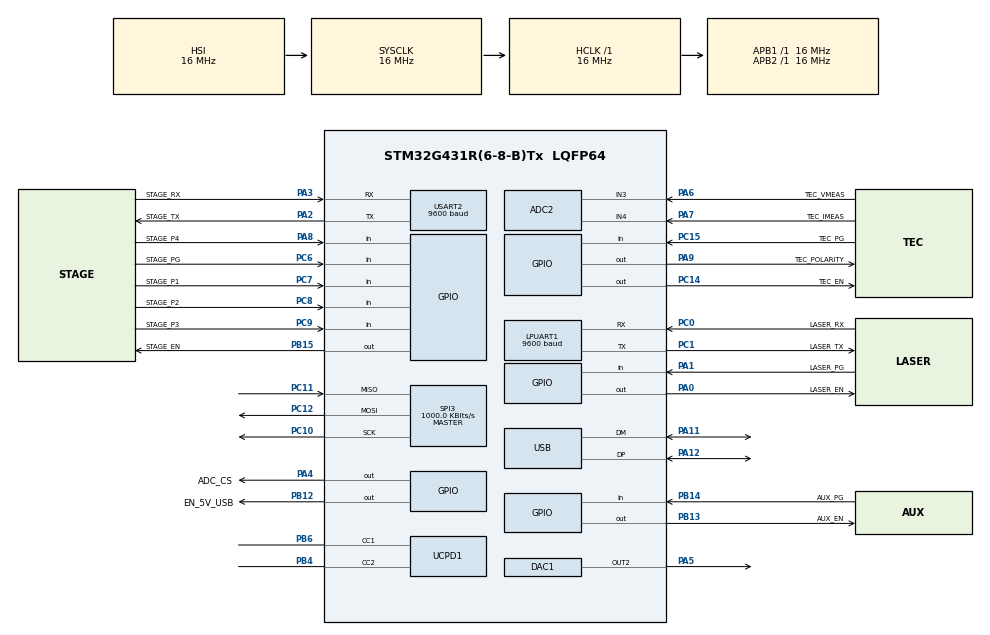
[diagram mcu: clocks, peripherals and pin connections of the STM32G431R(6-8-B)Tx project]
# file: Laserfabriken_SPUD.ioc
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ADC2.Channel-0\#ChannelRegularConversion=ADC_CHANNEL_3
ADC2.NbrOfConversionFlag=1
ADC2.OffsetNumber-0\#ChannelRegularConversion=ADC_OFFSET_NONE
ADC2.Rank-0\#ChannelRegularConversion=1
ADC2.SamplingTime-0\#ChannelRegularConversion=ADC_SAMPLETIME_2CYCLES_5
ADC2.SingleDiff-0\#ChannelRegularConversion=ADC_DIFFERENTIAL_ENDED
DAC1.DAC_Channel-DAC_OUT2=DAC_CHANNEL_2
Dma.ADC2.0.Direction=DMA_PERIPH_TO_MEMORY
Dma.ADC2.0.EventEnable=DISABLE
Dma.ADC2.0.Instance=DMA1_Channel2
Dma.ADC2.0.MemDataAlignment=DMA_MDATAALIGN_HALFWORD
Dma.ADC2.0.MemInc=DMA_MINC_ENABLE
Dma.ADC2.0.Mode=DMA_NORMAL
Dma.ADC2.0.PeriphDataAlignment=DMA_PDATAALIGN_HALFWORD
Dma.ADC2.0.PeriphInc=DMA_PINC_DISABLE
Dma.ADC2.0.Polarity=HAL_DMAMUX_REQ_GEN_RISING
Dma.ADC2.0.Priority=DMA_PRIORITY_LOW
Dma.ADC2.0.RequestNumber=1
Dma.ADC2.0.SignalID=NONE
Dma.ADC2.0.SyncEnable=DISABLE
Dma.ADC2.0.SyncPolarity=HAL_DMAMUX_SYNC_NO_EVENT
Dma.ADC2.0.SyncRequestNumber=1
Dma.ADC2.0.SyncSignalID=NONE
Dma.LPUART1_RX.1.Direction=DMA_PERIPH_TO_MEMORY
Dma.LPUART1_RX.1.EventEnable=DISABLE
Dma.LPUART1_RX.1.Instance=DMA1_Channel3
Dma.LPUART1_RX.1.MemDataAlignment=DMA_MDATAALIGN_BYTE
Dma.LPUART1_RX.1.MemInc=DMA_MINC_ENABLE
Dma.LPUART1_RX.1.Mode=DMA_CIRCULAR
Dma.LPUART1_RX.1.PeriphDataAlignment=DMA_PDATAALIGN_BYTE
Dma.LPUART1_RX.1.PeriphInc=DMA_PINC_DISABLE
Dma.LPUART1_RX.1.Polarity=HAL_DMAMUX_REQ_GEN_RISING
Dma.LPUART1_RX.1.Priority=DMA_PRIORITY_LOW
Dma.LPUART1_RX.1.RequestNumber=1
Dma.LPUART1_RX.1.SignalID=NONE
Dma.LPUART1_RX.1.SyncEnable=DISABLE
Dma.LPUART1_RX.1.SyncPolarity=HAL_DMAMUX_SYNC_NO_EVENT
Dma.LPUART1_RX.1.SyncRequestNumber=1
Dma.LPUART1_RX.1.SyncSignalID=NONE
Dma.Request0=ADC2
Dma.Request1=LPUART1_RX
Dma.Request2=USART2_RX
Dma.USART2_RX.2.Direction=DMA_PERIPH_TO_MEMORY
Dma.USART2_RX.2.EventEnable=DISABLE
Dma.USART2_RX.2.Instance=DMA1_Channel4
Dma.USART2_RX.2.MemDataAlignment=DMA_MDATAALIGN_BYTE
Dma.USART2_RX.2.MemInc=DMA_MINC_ENABLE
Dma.USART2_RX.2.Mode=DMA_CIRCULAR
Dma.USART2_RX.2.PeriphDataAlignment=DMA_PDATAALIGN_BYTE
Dma.USART2_RX.2.PeriphInc=DMA_PINC_DISABLE
Dma.USART2_RX.2.Polarity=HAL_DMAMUX_REQ_GEN_RISING
Dma.USART2_RX.2.Priority=DMA_PRIORITY_LOW
Dma.USART2_RX.2.RequestNumber=1
Dma.USART2_RX.2.SignalID=NONE
Dma.USART2_RX.2.SyncEnable=DISABLE
Dma.USART2_RX.2.SyncPolarity=HAL_DMAMUX_SYNC_NO_EVENT
Dma.USART2_RX.2.SyncRequestNumber=1
Dma.USART2_RX.2.SyncSignalID=NONE
LPUART1.BaudRate=9600
Mcu.Family=STM32G4
Mcu.Name=STM32G431R(6-8-B)Tx
Mcu.Package=LQFP64
NVIC.DMA1_Channel2_IRQn=true\:0\:0\:false\:false\:true\:false\:true\:true
NVIC.DMA1_Channel3_IRQn=true\:0\:0\:false\:false\:true\:false\:true\:true
NVIC.DMA1_Channel4_IRQn=true\:0\:0\:false\:false\:true\:false\:true\:true
NVIC.LPUART1_IRQn=true\:0\:0\:false\:false\:true\:true\:true\:true
NVIC.PriorityGroup=NVIC_PRIORITYGROUP_4
NVIC.USB_LP_IRQn=true\:0\:0\:false\:false\:true\:false\:true\:true
NVIC.USART2_IRQn=true\:0\:0\:false\:false\:true\:true\:true\:true
PA0.GPIO_Label=LASER_EN
PA0.Signal=GPIO_Output
PA1.GPIO_Label=LASER_PG
PA1.GPIO_PuPd=GPIO_PULLUP
PA1.Signal=GPIO_Input
PA11.Mode=Device
PA11.Signal=USB_DM
PA12.Mode=Device
PA12.Signal=USB_DP
PA2.GPIO_Label=STAGE_TX
PA2.Mode=Asynchronous
PA2.Signal=USART2_TX
PA3.GPIO_PuPd=GPIO_PULLUP
PA3.GPIO_Label=STAGE_RX
PA3.Mode=Asynchronous
PA3.Signal=USART2_RX
PA4.GPIO_Label=ADC_CS
PA4.Signal=GPIO_Output
PA5.Signal=COMP_DAC12_group
PA6.GPIO_Label=TEC_VMEAS
PA6.Mode=IN3-Differential
PA6.Signal=ADC2_IN3
PA7.GPIO_Label=TEC_IMEAS
PA7.Mode=IN3-Differential
PA7.Signal=ADC2_IN4
PA8.GPIO_Label=STAGE_P4
PA8.Signal=GPIO_Input
PA9.GPIO_Label=TEC_POLARITY
PA9.Signal=GPIO_Output
PB12.GPIO_Label=EN_5V_USB
PB12.PinState=GPIO_PIN_RESET
PB12.Signal=GPIO_Output
PB13.GPIO_Label=AUX_EN
PB13.Signal=GPIO_Output
PB14.GPIO_Label=AUX_PG
PB14.GPIO_PuPd=GPIO_PULLUP
PB14.Signal=GPIO_Input
PB15.GPIO_Label=STAGE_EN
PB15.Signal=GPIO_Output
PB4.Mode=Sink_AllSignals
PB4.Signal=UCPD1_CC2
PB6.Mode=Sink_AllSignals
PB6.Signal=UCPD1_CC1
PC0.GPIO_PuPd=GPIO_PULLUP
PC0.GPIO_Label=LASER_RX
PC0.Mode=Asynchronous
PC0.Signal=LPUART1_RX
PC1.GPIO_Label=LASER_TX
PC1.Mode=Asynchronous
PC1.Signal=LPUART1_TX
PC10.Mode=Full_Duplex_Master
PC10.Signal=SPI3_SCK
PC11.Mode=Full_Duplex_Master
PC11.Signal=SPI3_MISO
PC12.Mode=Full_Duplex_Master
PC12.Signal=SPI3_MOSI
PC14-OSC32_IN.GPIO_Label=TEC_EN
PC14-OSC32_IN.Signal=GPIO_Output
PC15-OSC32_OUT.GPIO_Label=TEC_PG
PC15-OSC32_OUT.GPIO_PuPd=GPIO_PULLUP
PC15-OSC32_OUT.Signal=GPIO_Input
PC6.GPIO_Label=STAGE_PG
PC6.GPIO_PuPd=GPIO_PULLUP
PC6.Signal=GPIO_Input
PC7.GPIO_Label=STAGE_P1
PC7.Signal=GPIO_Input
PC8.GPIO_Label=STAGE_P2
PC8.Signal=GPIO_Input
PC9.GPIO_Label=STAGE_P3
PC9.Signal=GPIO_Input
ProjectManager.HeapSize=0x200
ProjectManager.StackSize=0x400
ProjectManager.TargetToolchain=CMake
RCC.AHBFreq_Value=16000000
RCC.APB1Freq_Value=16000000
RCC.APB1TimFreq_Value=16000000
RCC.APB2Freq_Value=16000000
RCC.APB2TimFreq_Value=16000000
RCC.CortexFreq_Value=16000000
RCC.EXTERNAL_CLOCK_VALUE=12288000
RCC.HCLKFreq_Value=16000000
RCC.HSE_VALUE=8000000
RCC.HSI48_VALUE=48000000
RCC.HSI_VALUE=16000000
RCC.LSE_VALUE=32768
RCC.PLLN=12
RCC.PLLQ=RCC_PLLQ_DIV4
RCC.SYSCLKFreq_VALUE=16000000
RCC.USBFreq_Value=48000000
RCC.VCOOutputFreq_Value=192000000
SH.COMP_DAC12_group.0=DAC1_OUT2,DAC_OUT2
SPI3.BaudRatePrescaler=SPI_BAUDRATEPRESCALER_16
SPI3.CalculateBaudRate=1000.0 KBits/s
SPI3.DataSize=SPI_DATASIZE_8BIT
SPI3.Direction=SPI_DIRECTION_2LINES
SPI3.CLKPhase=SPI_PHASE_2EDGE
SPI3.Mode=SPI_MODE_MASTER
SPI3.VirtualType=VM_MASTER
SYS.VoltageScaling=SYSCFG_VREFBUF_VOLTAGE_SCALE2
USART2.BaudRate=9600
USART2.VirtualMode-Asynchronous=VM_ASYNC
USB_DEVICE.CLASS_NAME_FS=CDC
USB_DEVICE.VirtualMode=Cdc
USB_DEVICE.VirtualModeFS=Cdc_FS
VP_SYS_VS_DBSignals.Mode=DisableDeadBatterySignals
VP_USB_DEVICE_VS_USB_DEVICE_CDC_FS.Mode=CDC_FS
VREF+.Mode=InternalMode
VREF+.Signal=VREFBUF_OUT
board=custom

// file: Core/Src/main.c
/* USER CODE BEGIN Header */
/**
  ******************************************************************************
  * @file           : main.c
  * @brief          : Main program body
  ******************************************************************************
  * @attention
  *
  * Copyright (c) 2026 STMicroelectronics.
  * All rights reserved.
  *
  * This software is licensed under terms that can be found in the LICENSE file
  * in the root directory of this software component.
  * If no LICENSE file comes with this software, it is provided AS-IS.
  *
  ******************************************************************************
  */
/* USER CODE END Header */
#include "main.h"
#include "adc.h"
#include "dac.h"
#include "dma.h"
#include "usart.h"
#include "spi.h"
#include "ucpd.h"
#include "usb_device.h"
#include "gpio.h"

/* USER CODE BEGIN Includes */
#include "tec_control.h"
#include "laser_control.h"
#include "params.h"
#include "cli.h"
#include "usbc_port.h"
#include "uart_rx.h"
/* USER CODE END Includes */

void SystemClock_Config(void);

int main(void)
{

  /* MCU Configuration--------------------------------------------------------*/

  /* Reset of all peripherals, Initializes the Flash interface and the Systick. */
  HAL_Init();

  /* Configure the system clock */
  SystemClock_Config();

  /* Initialize all configured peripherals */
  MX_GPIO_Init();
  MX_DMA_Init();
  MX_USB_Device_Init();
  MX_UCPD1_Init();
  MX_LPUART1_UART_Init();
  MX_ADC2_Init();
  MX_DAC1_Init();
  MX_USART2_UART_Init();
  MX_SPI3_Init();
  /* USER CODE BEGIN 2 */
  /* Enable the STM32's internal VREFBUF and drive it out on VREF+, which is
   * wired on this board to the ADS1220's REFP0 (net "V2.9"). Without this,
   * that net has no voltage on it at all -- confirmed on the bench: nothing
   * in the .ioc or firmware ever turned VREFBUF on before now, so the
   * ADS1220's external reference input was floating.
   * HIZ must stay clear (0) -- HIZ=1 puts VREF+ in high-impedance (no
   * output), which is the state used when an external reference source
   * drives the pin instead; that's not the case here.
   * VRS is set to SCALE2 (~2.90V) to match laserfabriken_v2.ioc's
   * SYS.VoltageScaling=SYSCFG_VREFBUF_VOLTAGE_SCALE2 -- CubeMX records that
   * setting in the .ioc but doesn't generate code to apply it on this part,
   * so it's done here by hand. Confirm the real output on REFP0 with a
   * multimeter after flashing; don't assume it lands on exactly 2.90V. */
  VREFBUF->CSR &= ~VREFBUF_CSR_HIZ;
  VREFBUF->CSR = (VREFBUF->CSR & ~VREFBUF_CSR_VRS) | VREFBUF_CSR_VRS_1;
  VREFBUF->CSR |= VREFBUF_CSR_ENVR;
  {
      /* Wait for the buffer to report ready (VRR), bounded so a fault here
       * can't hang boot -- datasheet settle time is well under this. */
      uint32_t vrefbuf_start = HAL_GetTick();
      while (!(VREFBUF->CSR & VREFBUF_CSR_VRR)) {
          if ((HAL_GetTick() - vrefbuf_start) > 10u)
              break;
      }
  }

  UartRx_Init(); /* DMA + IDLE reception on the laser and stage UARTs */
  USBC_Init();   /* 5V on USB-C VBUS only for a detected display */
  TEC_Control_Init();
  Laser_Control_Init();
  Params_Load();
  CLI_Init();
  /* USER CODE END 2 */

  /* Infinite loop */
  /* USER CODE BEGIN WHILE */
  uint32_t last_tick = 0;
  while (1)
  {
    uint32_t now = HAL_GetTick();
    if (now - last_tick >= PID_PERIOD_S * 1000) {
      last_tick = now;
      TEC_Control_Tick();
      BSP_TEC_SetOutput(TEC_CRYSTAL);
    }
    Params_Process();
    Laser_Control_Process();
    USBC_Process();
    UartRx_Process();
    CLI_Process();
    /* USER CODE END WHILE */

  }
}

void SystemClock_Config(void)
{
  RCC_OscInitTypeDef RCC_OscInitStruct = {0};
  RCC_ClkInitTypeDef RCC_ClkInitStruct = {0};

  /** Configure the main internal regulator output voltage
  */
  HAL_PWREx_ControlVoltageScaling(PWR_REGULATOR_VOLTAGE_SCALE1);

  /** Initializes the RCC Oscillators according to the specified parameters
  * in the RCC_OscInitTypeDef structure.
  */
  RCC_OscInitStruct.OscillatorType = RCC_OSCILLATORTYPE_HSI;
  RCC_OscInitStruct.HSIState = RCC_HSI_ON;
  RCC_OscInitStruct.HSICalibrationValue = RCC_HSICALIBRATION_DEFAULT;
  RCC_OscInitStruct.PLL.PLLState = RCC_PLL_ON;
  RCC_OscInitStruct.PLL.PLLSource = RCC_PLLSOURCE_HSI;
  RCC_OscInitStruct.PLL.PLLM = RCC_PLLM_DIV1;
  RCC_OscInitStruct.PLL.PLLN = 12;
  RCC_OscInitStruct.PLL.PLLP = RCC_PLLP_DIV2;
  RCC_OscInitStruct.PLL.PLLQ = RCC_PLLQ_DIV4;
  RCC_OscInitStruct.PLL.PLLR = RCC_PLLR_DIV2;
  if (HAL_RCC_OscConfig(&RCC_OscInitStruct) != HAL_OK)
  {
    Error_Handler();
  }

  /** Initializes the CPU, AHB and APB buses clocks
  */
  RCC_ClkInitStruct.ClockType = RCC_CLOCKTYPE_HCLK|RCC_CLOCKTYPE_SYSCLK
                              |RCC_CLOCKTYPE_PCLK1|RCC_CLOCKTYPE_PCLK2;
  RCC_ClkInitStruct.SYSCLKSource = RCC_SYSCLKSOURCE_HSI;
  RCC_ClkInitStruct.AHBCLKDivider = RCC_SYSCLK_DIV1;
  RCC_ClkInitStruct.APB1CLKDivider = RCC_HCLK_DIV1;
  RCC_ClkInitStruct.APB2CLKDivider = RCC_HCLK_DIV1;

  if (HAL_RCC_ClockConfig(&RCC_ClkInitStruct, FLASH_LATENCY_0) != HAL_OK)
  {
    Error_Handler();
  }
}

void Error_Handler(void)
{
  __disable_irq();
  while (1)
  {
  }
}
